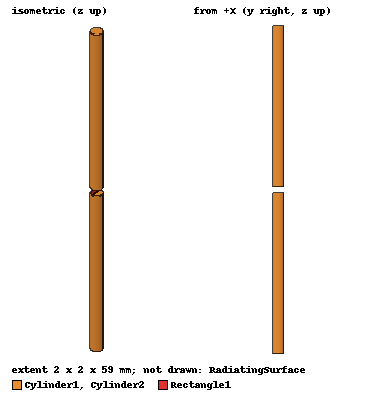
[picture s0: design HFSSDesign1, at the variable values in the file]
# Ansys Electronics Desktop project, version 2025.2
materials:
  vacuum: permittivity=1
  copper: permeability=0.999991 conductivity=58000000

design HFSSDesign1 (HFSS, HFSS Terminal Network, model units mm)
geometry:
  Cylinder1 [copper] = cylinder(axis=Z, base_centre=(0mm, 0mm, 1mm), radius=1mm, height=29mm)
  Cylinder2 [copper] = cylinder(axis=Z, base_centre=(0mm, 0mm, 0mm), radius=1mm, height=-29mm)
  Rectangle1 = rectangle(corner=(-1mm, 0mm, 0mm), z_size=1mm, x_size=2mm)
  RadiatingSurface [vacuum] = region(absolute_offset=41.666667mm on all sides)
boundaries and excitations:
  Open1: Radiation Objects=RadiatingSurface
  1: Lumped Port Objects=Rectangle1 LumpedPortType=Modal Modes{Mode1{IntLine{(0, 0, 0) -> (0, 0, 1)} CharImp=Zpi}} Impedance=50ohm
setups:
  Setup1: HfssDriven Frequency=2.4GHz MaxDeltaS=0.02 MaximumPasses=6 MinimumPasses=1 MinimumConvergedPasses=1 PercentRefinement=30 BasisOrder=1 PortAccuracy=2 DrivenSolverType="Direct Solver"
    sweep Sweep: 1.2GHz to 3.6GHz, 401 points; Type=Interpolating InterpTolerance=0.5 InterpMaxSolns=250 PassivityErrorTolerance=0.0001
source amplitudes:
  1:1: 1V 0deg
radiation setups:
  3D: Infinite Sphere Theta=0deg..360deg step 2deg Phi=-180deg..180deg step 2deg
  Elevation: Infinite Sphere Theta=-180deg..180deg step 1deg Phi=0deg..90deg step 90deg
  Azimuth: Infinite Sphere Theta=90deg..90deg step 0deg Phi=-180deg..180deg step 1deg
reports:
  Gain Plot2: dB(GainTotal) vs Phi, Theta on Setup1 : LastAdaptive, 3D [Freq=2.4GHz]
  Terminal S Parameter Plot1: dB(St(1,1)) vs Freq on Setup1 : Sweep
  Gain Plot4: dB(GainTotal) vs Theta on Setup1 : LastAdaptive, 3D [Phi=all Freq=2.4GHz]
